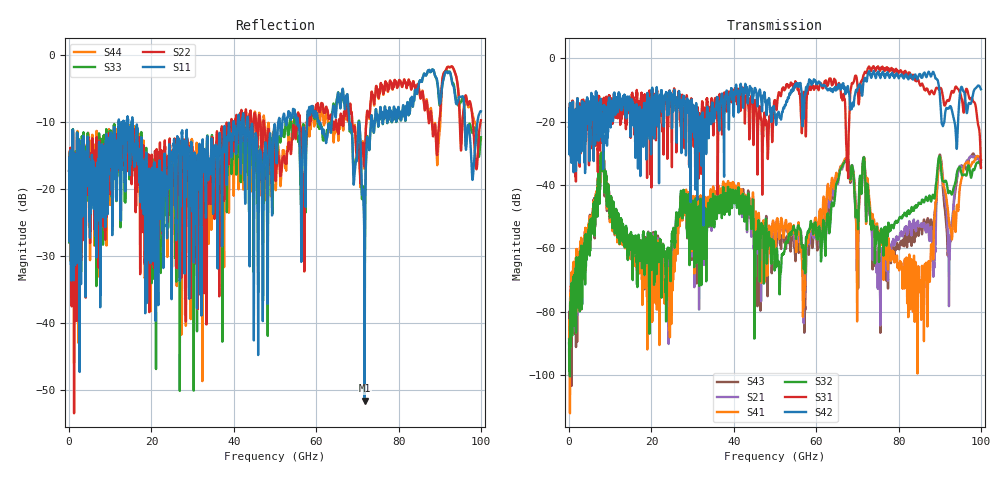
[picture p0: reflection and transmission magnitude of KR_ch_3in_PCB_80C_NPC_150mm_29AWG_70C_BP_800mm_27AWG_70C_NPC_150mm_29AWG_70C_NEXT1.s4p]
# GHz S RI R 45
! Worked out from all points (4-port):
!   4000 points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, 25 MHz to 100 GHz, reference 45 ohm
!   strongest paths, dB at 25 MHz, 25.02 GHz, 50.02 GHz, 75.03 GHz, 100 GHz:
!     S42: -21.8, -20.6, -18.8, -4.2, -9.7
!     S31: -21.7, -20.5, -13.5, -2.5, -34.6
!     S32: -90.0, -55.8, -64.2, -55.6, -34.2
!     S41: -88.6, -66.0, -60.3, -54.7, -31.9
!     S21: -89.9, -61.1, -58.0, -71.2, -32.8
!     S43: -91.9, -59.7, -58.7, -70.4, -32.2
!   lowest |S11| = -51.6 dB at 71.78 GHz (marker M1), VSWR 1.01, Z = 44.8 + j0.139 ohm
!   |S11| at or under -10 dB: start of sweep to 12.09 GHz; 15.46 GHz to 39.96 GHz (24.5 GHz wide, 88.4 % of centre); 43.49 GHz to 50.79 GHz (7.304 GHz wide, 15.5 % of centre)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
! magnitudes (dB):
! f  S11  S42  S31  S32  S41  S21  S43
! 25 MHz  -17.2  -21.8  -21.7  -90.0  -88.6  -89.9  -91.9
! 8.025 GHz  -15.9  -26.0  -18.2  -31.7  -31.5  -32.0  -31.4
! 24.43 GHz  -13.9  -10.2  -10.1  -60.8  -85.7  -72.7  -69.7
! 71.78 GHz  -51.6  -6.2  -4.4  -33.5  -33.0  -33.6  -33.0
! 75.17 GHz  -10.1  -4.4  -3.1  -56.2  -54.9  -60.6  -60.7
! 85.05 GHz  -3.9  -5.0  -7.8  -45.7  -73.3  -52.9  -53.4
! 100 GHz  -8.3  -9.7  -34.6  -34.2  -31.9  -32.8  -32.2
